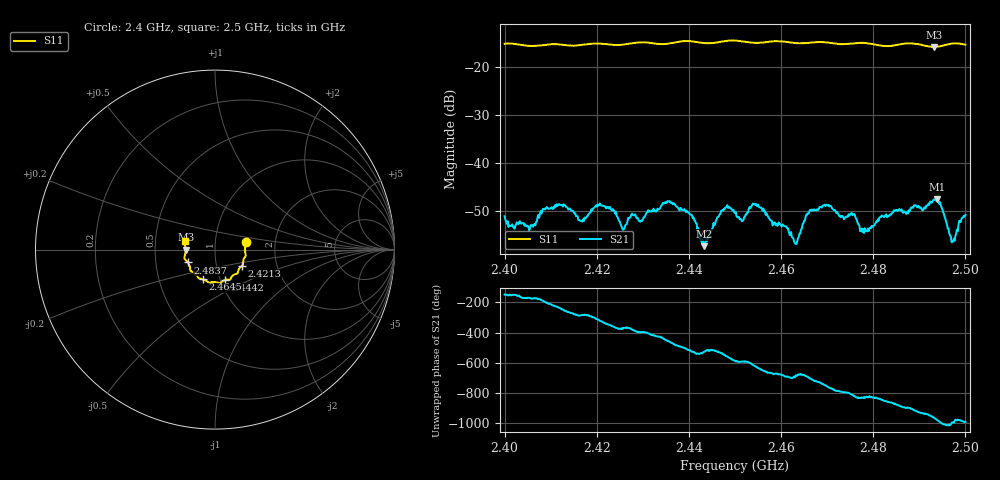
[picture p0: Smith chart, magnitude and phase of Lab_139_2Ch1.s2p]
# Hz S RI R 50
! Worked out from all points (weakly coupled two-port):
!   601 points, 2.4 GHz to 2.5 GHz, reference 50 ohm
!   highest |S21| = -47.38 dB at 2.4938 GHz (marker M1); lowest = -57.2 dB at 2.4433 GHz (marker M2)
!   lowest |S11| = -15.7 dB at 2.4932 GHz (marker M3), VSWR 1.39, Z = 35.9 - j0.0538 ohm
!   |S11| at or under -10 dB: start of sweep to end of sweep
!   S12 and S22 are empty: the file has one direction only
!   S11 on the Smith chart (normalised r, x): 2.4 GHz: 1.41, +0.12; 2.4213 GHz: 1.33, -0.25; 2.4442 GHz: 1.05, -0.37; 2.4645 GHz: 0.83, -0.29; 2.4837 GHz: 0.73, -0.11; 2.5 GHz: 0.71, +0.07
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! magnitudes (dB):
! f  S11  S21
! 2.4 GHz  -15.1  -51.0
! 2.4057 GHz  -15.5  -52.9
! 2.4118 GHz  -15.2  -48.5
! 2.4167 GHz  -15.3  -52.0
! 2.4213 GHz  -15.1  -48.8
! 2.4258 GHz  -15.2  -53.7
! 2.4333 GHz  -15.1  -49.6
! 2.4395 GHz  -14.5  -49.8
! 2.4433 GHz  -14.9  -57.2
! 2.4442 GHz  -15.0  -55.6
! 2.45 GHz  -14.4  -50.3
! 2.4545 GHz  -14.9  -48.4
! 2.463 GHz  -14.9  -56.6
! 2.4645 GHz  -15.0  -53.6
! 2.4667 GHz  -14.8  -49.6
! 2.4782 GHz  -14.9  -53.5
! 2.4833 GHz  -15.6  -51.0
! 2.4837 GHz  -15.5  -50.7
! 2.4932 GHz  -15.7  -47.5
! 2.4938 GHz  -15.7  -47.4
! 2.4972 GHz  -15.0  -56.2
! 2.5 GHz  -15.3  -50.7
